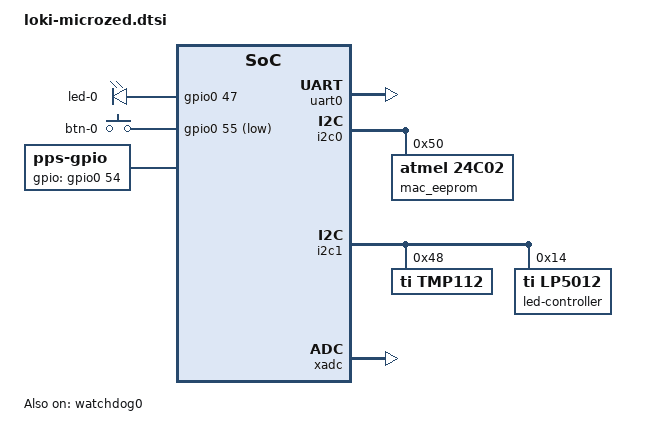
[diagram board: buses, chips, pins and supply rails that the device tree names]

#include "zynq-microzed.dts"
#include "loki-common.dtsi"

#include <dt-bindings/leds/common.h>
#include <dt-bindings/gpio/gpio.h>
#include <dt-bindings/input/input.h>

&watchdog0 {
    status = "okay";
    timeout-sec = <300>;
    reset-on-timeout;
};

&uart0 {
	status = "okay";
};

&i2c0 {
	status = "okay";
	/* MAC address, EEPROM: Microchip 24AA02E48T */
	mac_eeprom: eeprom@50 {
		compatible = "atmel,24c02";
        reg = <0x50>;
    };
};

&i2c1 {
	status = "okay";

	tmp112@48 {
		compatible = "ti,tmp112";
		reg = <0x48>; /* I2C address ADDR0=GND */
	};

	led-controller@14 {
		compatible = "ti,lp5012";

		#address-cells = <1>;
		#size-cells = <0>;
		reg = <0x14>; /* I2C address ADDR0=ADDR1=GND */

		multi-led@0 {
			#address-cells = <1>;
			#size-cells = <0>;
			reg = <0>;
			label = "multi-led-0";
			color = <LED_COLOR_ID_RGB>;
			led-0 {color = <LED_COLOR_ID_RED>;};
			led-1 {color = <LED_COLOR_ID_GREEN>;};
			led-2 {color = <LED_COLOR_ID_BLUE>;};
		};

		multi-led@1 {
			#address-cells = <1>;
			#size-cells = <0>;
			reg = <1>;
			label = "multi-led-1";
			color = <LED_COLOR_ID_RGB>;
			led-3 {color = <LED_COLOR_ID_RED>;};
			led-4 {color = <LED_COLOR_ID_GREEN>;};
			led-5 {color = <LED_COLOR_ID_BLUE>;};
		};

		multi-led@2 {
			#address-cells = <1>;
			#size-cells = <0>;
			reg = <2>;
			label = "multi-led-2";
			color = <LED_COLOR_ID_RGB>;
			led-6 {color = <LED_COLOR_ID_RED>;};
			led-7 {color = <LED_COLOR_ID_GREEN>;};
			led-8 {color = <LED_COLOR_ID_BLUE>;};
		};

		multi-led@3 {
			#address-cells = <1>;
			#size-cells = <0>;
			reg = <3>;
			label = "multi-led-3";
			color = <LED_COLOR_ID_RGB>;
			led-9  {color = <LED_COLOR_ID_RED>;};
			led-10 {color = <LED_COLOR_ID_GREEN>;};
			led-11 {color = <LED_COLOR_ID_BLUE>;};
		};
   	};
};

&amba_pl {
	xadc: xadc@41240000 {
		compatible = "xlnx,axi-xadc-1.00.a";
        reg = <0x41250000 0x1000>;
		interrupts = <0 31 4>; /* IRQ_F2P[2], maps to Linux IRQ 63 */
        interrupt-parent = <&intc>;
        clocks = <&clkc 15>;

		xlnx,channels {
			#address-cells = <1>;
			#size-cells = <0>;

			/* VAUXP0/VAUXN0, differential, unipolar */
			channel@1 {
				reg = <1>;
			};

			/* VAUXP1/VAUXN1, differential, unipolar */
			channel@2 {
				reg = <2>;
			};

			/* Not connected */
/*
			channel@3 {
				reg = <3>;
				xlnx,bipolar;
			};

			channel@4 {
				reg = <4>;
				xlnx,bipolar;
			};
*/
		};
	};
};

/ {
    gpio-leds {
        compatible = "gpio-leds";
        led-0 {
			label = "led-0";
            gpios = <&gpio0 47 GPIO_ACTIVE_HIGH>;
			default-state = "off";
			linux,default-trigger = "heartbeat";
        };
    };

	gpio-keys {
		compatible = "gpio-keys";
		btn-0 {
			gpios = <&gpio0 55 GPIO_ACTIVE_LOW>;
			linux,code = <KEY_POWER>;
			debounce-interval = <10>;
		};
	};

    pps {
		compatible = "pps-gpio";
		gpios = <&gpio0 54 GPIO_ACTIVE_HIGH>;
    };
};
